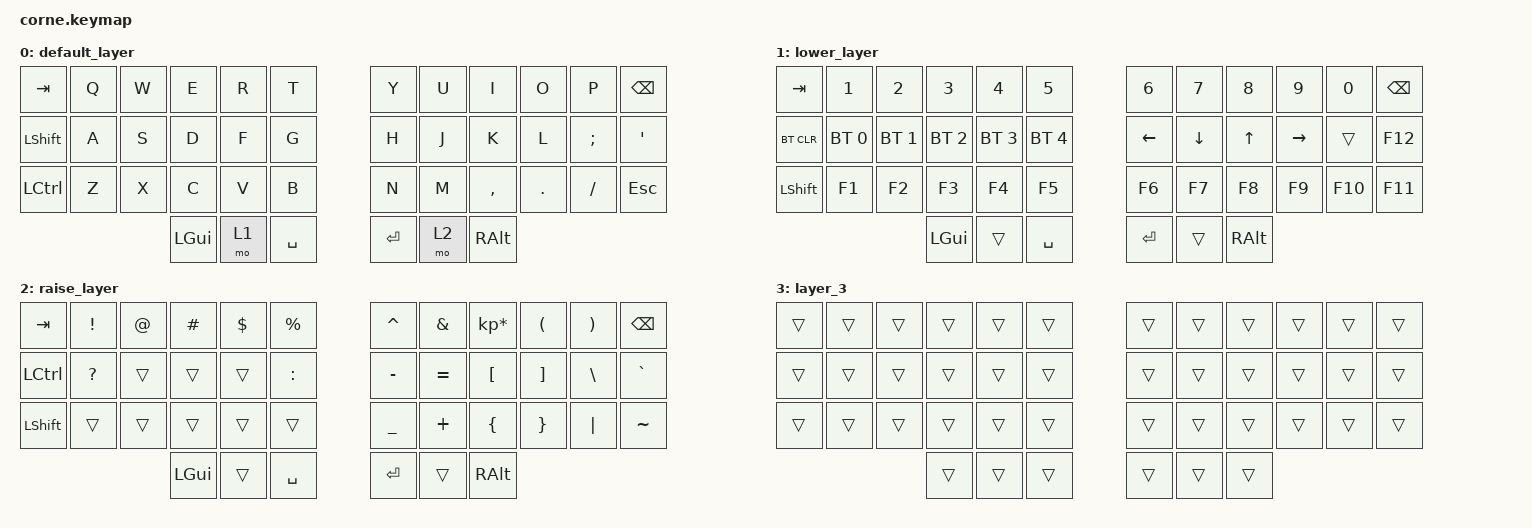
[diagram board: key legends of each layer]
/*
 * Copyright (c) 2020 The ZMK Contributors
 *
 * SPDX-License-Identifier: MIT
 */

#include <behaviors.dtsi>
#include <dt-bindings/zmk/bt.h>
#include <dt-bindings/zmk/keys.h>

/ {
    keymap {
        compatible = "zmk,keymap";

        default_layer {
            // -----------------------------------------------------------------------------------------
            // |  TAB |  Q  |  W  |  E  |  R  |  T  |   |  Y  |  U   |  I  |  O  |  P  | BKSP |
            // | SHFT |  A  |  S  |  D  |  F  |  G  |   |  H  |  J   |  K  |  L  |  ;  |  '   |
            // | CTRL |  Z  |  X  |  C  |  V  |  B  |   |  N  |  M   |  ,  |  .  |  /  | ESC  |
            //                    | GUI | LWR | SPC |   | ENT | RSE  | ALT |

            bindings = <
&kp TAB    &kp Q  &kp W  &kp E     &kp R  &kp T        &kp Y    &kp U  &kp I      &kp O    &kp P     &kp BSPC
&kp LSHFT  &kp A  &kp S  &kp D     &kp F  &kp G        &kp H    &kp J  &kp K      &kp L    &kp SEMI  &kp SQT
&kp LCTRL  &kp Z  &kp X  &kp C     &kp V  &kp B        &kp N    &kp M  &kp COMMA  &kp DOT  &kp FSLH  &kp ESC
                         &kp LGUI  &mo 1  &kp SPACE    &kp RET  &mo 2  &kp RALT
            >;
        };

        lower_layer {
            // -----------------------------------------------------------------------------------------
            // |  TAB |  1  |  2  |  3  |  4  |  5  |   |  6  |  7  |  8  |  9  |  0  | BKSP |
            // | BTCLR| BT1 | BT2 | BT3 | BT4 | BT5 |   | LFT | DWN |  UP | RGT |     |  F12 |
            // | SHFT |  F1 |  F2 |  F3 | F4  | F5  |   | F6  |  F7 |  F8 |  F9 | F10 |  F11 |
            //                    | GUI |     | SPC |   | ENT |     | ALT |

            bindings = <
&kp TAB     &kp N1        &kp N2        &kp N3        &kp N4        &kp N5          &kp N6    &kp N7    &kp N8    &kp N9     &kp N0   &kp BSPC
&bt BT_CLR  &bt BT_SEL 0  &bt BT_SEL 1  &bt BT_SEL 2  &bt BT_SEL 3  &bt BT_SEL 4    &kp LEFT  &kp DOWN  &kp UP    &kp RIGHT  &trans   &kp F12
&kp LSHFT   &kp F1        &kp F2        &kp F3        &kp F4        &kp F5          &kp F6    &kp F7    &kp F8    &kp F9     &kp F10  &kp F11
                                        &kp LGUI      &trans        &kp SPACE       &kp RET   &trans    &kp RALT
            >;
        };

        raise_layer {
            // -----------------------------------------------------------------------------------------
            // |  TAB |  !  |  @  |  #  |  $  |  %  |   |  ^  |  &  |  *  |  (  |  )  | BKSP |
            // | CTRL |  ?  |     |     |     |     |   |  -  |  =  |  [  |  ]  |  \  |  `   |
            // | SHFT |     |     |     |     |     |   |  _  |  +  |  {  |  }  | "|" |  ~   |
            //                    | GUI |     | SPC |   | ENT |     | ALT |

            bindings = <
&kp TAB    &kp EXCL      &kp AT  &kp HASH  &kp DLLR  &kp PRCNT    &kp CARET  &kp AMPS   &kp KP_MULTIPLY  &kp LPAR  &kp RPAR  &kp BSPC
&kp LCTRL  &kp QUESTION  &trans  &trans    &trans    &kp COLON    &kp MINUS  &kp EQUAL  &kp LBKT         &kp RBKT  &kp BSLH  &kp GRAVE
&kp LSHFT  &trans        &trans  &trans    &trans    &trans       &kp UNDER  &kp PLUS   &kp LBRC         &kp RBRC  &kp PIPE  &kp TILDE
                                 &kp LGUI  &trans    &kp SPACE    &kp RET    &trans     &kp RALT
            >;
        };

        layer_3 {
            bindings = <
&trans  &trans  &trans  &trans  &trans  &trans    &trans  &trans  &trans  &trans  &trans  &trans
&trans  &trans  &trans  &trans  &trans  &trans    &trans  &trans  &trans  &trans  &trans  &trans
&trans  &trans  &trans  &trans  &trans  &trans    &trans  &trans  &trans  &trans  &trans  &trans
                        &trans  &trans  &trans    &trans  &trans  &trans
            >;
        };
    };
};
